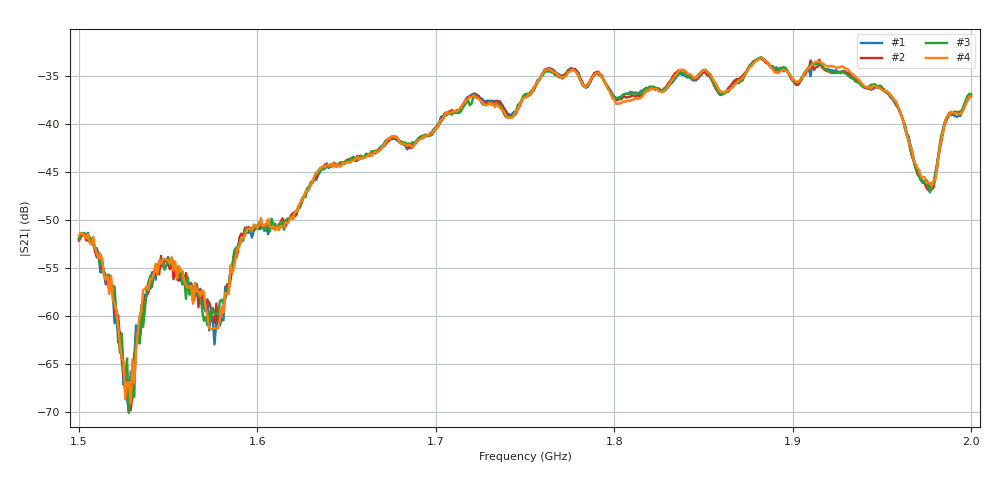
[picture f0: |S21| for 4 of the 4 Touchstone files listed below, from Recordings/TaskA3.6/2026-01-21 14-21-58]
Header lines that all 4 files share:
! NanoVNA-App by SYSJOINT et al v1.1.209 (+OD18)
! Start: 1,5GHz Stop: 2GHz Points: 501
! S-Parameter data: F S11 S21 S12 S22
# Hz S RI R 50
!  Frequency  S11_Real  S11_Imag  S21_Real  S21_Imag  S12_Real  S12_Imag  S22_Real  S22_Imag
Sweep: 1.5 GHz to 2 GHz
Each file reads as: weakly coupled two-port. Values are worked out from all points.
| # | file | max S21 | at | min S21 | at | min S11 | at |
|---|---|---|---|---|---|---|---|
| 1 | 0.s2p | -33.11 dB | 1.882 GHz | -69.9 dB | 1.528 GHz | -30.0 dB | 1.816 GHz |
| 2 | 1.s2p | -33.21 dB | 1.882 GHz | -69.8 dB | 1.529 GHz | -30.0 dB | 1.816 GHz |
| 3 | 2.s2p | -33.06 dB | 1.882 GHz | -70.1 dB | 1.528 GHz | -29.9 dB | 1.816 GHz |
| 4 | 3.s2p | -33.18 dB | 1.883 GHz | -69.0 dB | 1.529 GHz | -31.0 dB | 1.816 GHz |
